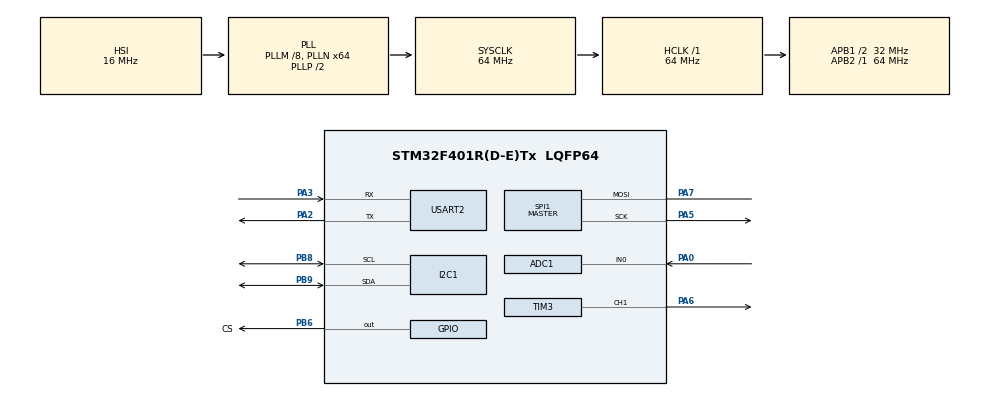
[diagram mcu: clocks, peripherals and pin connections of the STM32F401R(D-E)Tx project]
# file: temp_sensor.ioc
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ADC1.Channel-0\#ChannelRegularConversion=ADC_CHANNEL_0
ADC1.NbrOfConversionFlag=1
ADC1.Rank-0\#ChannelRegularConversion=1
ADC1.SamplingTime-0\#ChannelRegularConversion=ADC_SAMPLETIME_15CYCLES
ADC1.master=1
FREERTOS.Mutexes01=SPI_Mutex,Static,SPI_MutexControlBlock,Depleted
FREERTOS.Tasks01=TempRead,24,128,StartTempRead,Default,NULL,Dynamic,NULL,NULL;Counter,8,128,StartCounter,Default,NULL,Dynamic,NULL,NULL;CtrlLED,8,128,StartCtrlLED,Default,NULL,Dynamic,NULL,NULL
FREERTOS.configUSE_NEWLIB_REENTRANT=1
Mcu.Family=STM32F4
Mcu.Name=STM32F401R(D-E)Tx
Mcu.Package=LQFP64
NVIC.PriorityGroup=NVIC_PRIORITYGROUP_4
NVIC.TIM5_IRQn=true\:15\:0\:false\:false\:true\:false\:false\:true\:true
NVIC.TimeBase=TIM5_IRQn
NVIC.TimeBaseIP=TIM5
PA0-WKUP.Signal=ADCx_IN0
PA2.Mode=Asynchronous
PA2.Signal=USART2_TX
PA3.Mode=Asynchronous
PA3.Signal=USART2_RX
PA5.Mode=Simplex_Bidirectional_Master
PA5.Signal=SPI1_SCK
PA6.Signal=S_TIM3_CH1
PA7.Mode=Simplex_Bidirectional_Master
PA7.Signal=SPI1_MOSI
PB6.GPIO_Label=CS
PB6.Signal=GPIO_Output
PB8.Mode=I2C
PB8.Signal=I2C1_SCL
PB9.Mode=I2C
PB9.Signal=I2C1_SDA
ProjectManager.HeapSize=0x200
ProjectManager.StackSize=0x400
ProjectManager.TargetToolchain=STM32CubeIDE
RCC.48MHZClocksFreq_Value=18285714.285714287
RCC.AHBFreq_Value=64000000
RCC.APB1CLKDivider=RCC_HCLK_DIV2
RCC.APB1Freq_Value=32000000
RCC.APB1TimFreq_Value=64000000
RCC.APB2Freq_Value=64000000
RCC.APB2TimFreq_Value=64000000
RCC.CortexFreq_Value=64000000
RCC.HCLKFreq_Value=64000000
RCC.HSE_VALUE=8000000
RCC.HSI_VALUE=16000000
RCC.LSE_VALUE=32768
RCC.PLLM=8
RCC.PLLN=64
RCC.PLLQ=7
RCC.SYSCLKFreq_VALUE=64000000
RCC.SYSCLKSource=RCC_SYSCLKSOURCE_PLLCLK
RCC.VCOOutputFreq_Value=128000000
SH.ADCx_IN0.0=ADC1_IN0,IN0
SH.S_TIM3_CH1.0=TIM3_CH1,PWM Generation1 CH1
SPI1.Direction=SPI_DIRECTION_1LINE
SPI1.Mode=SPI_MODE_MASTER
SPI1.VirtualType=VM_MASTER
TIM2.Prescaler=4
TIM3.Channel-PWM\ Generation1\ CH1=TIM_CHANNEL_1
TIM3.Prescaler=16
USART2.VirtualMode=VM_ASYNC
VP_FREERTOS_VS_CMSIS_V2.Mode=CMSIS_V2
VP_SYS_VS_tim5.Mode=TIM5
VP_TIM2_VS_ClockSourceINT.Mode=Internal
board=NUCLEO-F401RE

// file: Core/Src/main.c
/* USER CODE BEGIN Header */
/**
  ******************************************************************************
  * @file           : main.c
  * @brief          : Main program body
  ******************************************************************************
  * @attention
  *
  * Copyright (c) 2025 STMicroelectronics.
  * All rights reserved.
  *
  * This software is licensed under terms that can be found in the LICENSE file
  * in the root directory of this software component.
  * If no LICENSE file comes with this software, it is provided AS-IS.
  *
  ******************************************************************************
  */
/* USER CODE END Header */
#include "main.h"
#include "cmsis_os.h"

/* USER CODE BEGIN Includes */
#include <stdio.h>
#include <string.h>
/* USER CODE END Includes */

typedef StaticSemaphore_t osStaticMutexDef_t;

/* USER CODE BEGIN PD */
#define ENABLE 0x08         //Will be ORed in to data value to strobe E bit
#define COMMAND_MODE 0x00   //used to clear RS line to 0, for command transfer
#define DATA_MODE 0x04      //used to set RS line to 1, for data transfer

#define SET_LINE_1 0x80
#define SET_LINE_2 0x80 + 0x40
#define SET_LINE_3 0x80 + 0x14
#define SET_LINE_4 0x80 + 0x54
/* USER CODE END PD */

ADC_HandleTypeDef hadc1;

I2C_HandleTypeDef hi2c1;

SPI_HandleTypeDef hspi1;

TIM_HandleTypeDef htim2;
TIM_HandleTypeDef htim3;

UART_HandleTypeDef huart2;

/* Definitions for TempRead */
osThreadId_t TempReadHandle;
const osThreadAttr_t TempRead_attributes = {
  .name = "TempRead",
  .stack_size = 128 * 4,
  .priority = (osPriority_t) osPriorityNormal,
};
/* Definitions for Counter */
osThreadId_t CounterHandle;
const osThreadAttr_t Counter_attributes = {
  .name = "Counter",
  .stack_size = 128 * 4,
  .priority = (osPriority_t) osPriorityLow,
};
/* Definitions for CtrlLED */
osThreadId_t CtrlLEDHandle;
const osThreadAttr_t CtrlLED_attributes = {
  .name = "CtrlLED",
  .stack_size = 128 * 4,
  .priority = (osPriority_t) osPriorityLow,
};
/* Definitions for SPI_Mutex */
osMutexId_t SPI_MutexHandle;
osStaticMutexDef_t SPI_MutexControlBlock;
const osMutexAttr_t SPI_Mutex_attributes = {
  .name = "SPI_Mutex",
  .cb_mem = &SPI_MutexControlBlock,
  .cb_size = sizeof(SPI_MutexControlBlock),
};
/* USER CODE BEGIN PV */
const uint8_t ds1631_addr = 0x48 << 1; //I2C address of temperature sensor DS1631
uint8_t buf[24];
int16_t val;
float temp;

uint8_t START_CONVERT = 0x51;
//const uint8_t STOP_CONVERT = 0x22;
uint8_t READ_TEMP = 0xAA;
//const uint8_t ACCESS_TH = 0xA1;
//const uint8_t ACCESS_TL = 0xA2;
//const uint8_t ACCESS_CONFIG = 0xAC;
//const uint8_t SOFTWARE_POR = 0x54;
/* USER CODE END PV */

void SystemClock_Config(void);
static void MX_GPIO_Init(void);
static void MX_ADC1_Init(void);
static void MX_TIM3_Init(void);
static void MX_I2C1_Init(void);
static void MX_SPI1_Init(void);
static void MX_USART2_UART_Init(void);
static void MX_TIM2_Init(void);
void StartTempRead(void *argument);
void StartCounter(void *argument);
void StartCtrlLED(void *argument);

/* USER CODE BEGIN PFP */
void clr_lcd(void);
void init_lcd(void);
void print_lcd(const char *string);
void shift_out(int data);
void write_cmd(int cmd);
void write_data(char c);
void write_4bit(int data, int mode);
void wait_us(uint32_t us);
/* USER CODE END PFP */

int main(void)
{

  /* MCU Configuration--------------------------------------------------------*/

  /* Reset of all peripherals, Initializes the Flash interface and the Systick. */
  HAL_Init();

  /* Configure the system clock */
  SystemClock_Config();

  /* Initialize all configured peripherals */
  MX_GPIO_Init();
  MX_ADC1_Init();
  MX_TIM3_Init();
  MX_I2C1_Init();
  MX_SPI1_Init();
  MX_USART2_UART_Init();
  MX_TIM2_Init();
  /* USER CODE BEGIN 2 */
  // Set up LCD
  HAL_TIM_Base_Start(&htim2);
  HAL_GPIO_WritePin(CS_GPIO_Port, CS_Pin, GPIO_PIN_SET); // CS HIGH
  HAL_SPI_Abort(&hspi1);
  init_lcd();
  clr_lcd();
  print_lcd("Temperature:");
  write_cmd(SET_LINE_3);   //set cursor to second line
  wait_us(40);
  print_lcd("Counter:");
  HAL_UART_Transmit(&huart2, (uint8_t*)"\033[0;0H", strlen("\033[0;0H"), HAL_MAX_DELAY);
  HAL_UART_Transmit(&huart2, (uint8_t*)"\033[2J", strlen("\033[2J"), HAL_MAX_DELAY);

  /* USER CODE END 2 */

  /* Init scheduler */
  osKernelInitialize();
  /* Create the mutex(es) */
  /* creation of SPI_Mutex */
  SPI_MutexHandle = osMutexNew(&SPI_Mutex_attributes);

  /* Create the thread(s) */
  /* creation of TempRead */
  TempReadHandle = osThreadNew(StartTempRead, NULL, &TempRead_attributes);

  /* creation of Counter */
  CounterHandle = osThreadNew(StartCounter, NULL, &Counter_attributes);

  /* creation of CtrlLED */
  CtrlLEDHandle = osThreadNew(StartCtrlLED, NULL, &CtrlLED_attributes);

  /* Start scheduler */
  osKernelStart();

  /* We should never get here as control is now taken by the scheduler */

  /* Infinite loop */
  while (1)
  {

  }
}

void SystemClock_Config(void)
{
  RCC_OscInitTypeDef RCC_OscInitStruct = {0};
  RCC_ClkInitTypeDef RCC_ClkInitStruct = {0};

  /** Configure the main internal regulator output voltage
  */
  __HAL_RCC_PWR_CLK_ENABLE();
  __HAL_PWR_VOLTAGESCALING_CONFIG(PWR_REGULATOR_VOLTAGE_SCALE2);

  /** Initializes the RCC Oscillators according to the specified parameters
  * in the RCC_OscInitTypeDef structure.
  */
  RCC_OscInitStruct.OscillatorType = RCC_OSCILLATORTYPE_HSI;
  RCC_OscInitStruct.HSIState = RCC_HSI_ON;
  RCC_OscInitStruct.HSICalibrationValue = RCC_HSICALIBRATION_DEFAULT;
  RCC_OscInitStruct.PLL.PLLState = RCC_PLL_ON;
  RCC_OscInitStruct.PLL.PLLSource = RCC_PLLSOURCE_HSI;
  RCC_OscInitStruct.PLL.PLLM = 8;
  RCC_OscInitStruct.PLL.PLLN = 64;
  RCC_OscInitStruct.PLL.PLLP = RCC_PLLP_DIV2;
  RCC_OscInitStruct.PLL.PLLQ = 7;
  if (HAL_RCC_OscConfig(&RCC_OscInitStruct) != HAL_OK)
  {
    Error_Handler();
  }

  /** Initializes the CPU, AHB and APB buses clocks
  */
  RCC_ClkInitStruct.ClockType = RCC_CLOCKTYPE_HCLK|RCC_CLOCKTYPE_SYSCLK
                              |RCC_CLOCKTYPE_PCLK1|RCC_CLOCKTYPE_PCLK2;
  RCC_ClkInitStruct.SYSCLKSource = RCC_SYSCLKSOURCE_PLLCLK;
  RCC_ClkInitStruct.AHBCLKDivider = RCC_SYSCLK_DIV1;
  RCC_ClkInitStruct.APB1CLKDivider = RCC_HCLK_DIV2;
  RCC_ClkInitStruct.APB2CLKDivider = RCC_HCLK_DIV1;

  if (HAL_RCC_ClockConfig(&RCC_ClkInitStruct, FLASH_LATENCY_2) != HAL_OK)
  {
    Error_Handler();
  }
}

static void MX_ADC1_Init(void)
{

  ADC_ChannelConfTypeDef sConfig = {0};

  /** Configure the global features of the ADC (Clock, Resolution, Data Alignment and number of conversion)
  */
  hadc1.Instance = ADC1;
  hadc1.Init.ClockPrescaler = ADC_CLOCK_SYNC_PCLK_DIV2;
  hadc1.Init.Resolution = ADC_RESOLUTION_12B;
  hadc1.Init.ScanConvMode = DISABLE;
  hadc1.Init.ContinuousConvMode = DISABLE;
  hadc1.Init.DiscontinuousConvMode = DISABLE;
  hadc1.Init.ExternalTrigConvEdge = ADC_EXTERNALTRIGCONVEDGE_NONE;
  hadc1.Init.ExternalTrigConv = ADC_SOFTWARE_START;
  hadc1.Init.DataAlign = ADC_DATAALIGN_RIGHT;
  hadc1.Init.NbrOfConversion = 1;
  hadc1.Init.DMAContinuousRequests = DISABLE;
  hadc1.Init.EOCSelection = ADC_EOC_SINGLE_CONV;
  if (HAL_ADC_Init(&hadc1) != HAL_OK)
  {
    Error_Handler();
  }

  /** Configure for the selected ADC regular channel its corresponding rank in the sequencer and its sample time.
  */
  sConfig.Channel = ADC_CHANNEL_0;
  sConfig.Rank = 1;
  sConfig.SamplingTime = ADC_SAMPLETIME_15CYCLES;
  if (HAL_ADC_ConfigChannel(&hadc1, &sConfig) != HAL_OK)
  {
    Error_Handler();
  }

}

static void MX_I2C1_Init(void)
{

  hi2c1.Instance = I2C1;
  hi2c1.Init.ClockSpeed = 100000;
  hi2c1.Init.DutyCycle = I2C_DUTYCYCLE_2;
  hi2c1.Init.OwnAddress1 = 0;
  hi2c1.Init.AddressingMode = I2C_ADDRESSINGMODE_7BIT;
  hi2c1.Init.DualAddressMode = I2C_DUALADDRESS_DISABLE;
  hi2c1.Init.OwnAddress2 = 0;
  hi2c1.Init.GeneralCallMode = I2C_GENERALCALL_DISABLE;
  hi2c1.Init.NoStretchMode = I2C_NOSTRETCH_DISABLE;
  if (HAL_I2C_Init(&hi2c1) != HAL_OK)
  {
    Error_Handler();
  }

}

static void MX_SPI1_Init(void)
{

  /* SPI1 parameter configuration*/
  hspi1.Instance = SPI1;
  hspi1.Init.Mode = SPI_MODE_MASTER;
  hspi1.Init.Direction = SPI_DIRECTION_1LINE;
  hspi1.Init.DataSize = SPI_DATASIZE_8BIT;
  hspi1.Init.CLKPolarity = SPI_POLARITY_LOW;
  hspi1.Init.CLKPhase = SPI_PHASE_1EDGE;
  hspi1.Init.NSS = SPI_NSS_SOFT;
  hspi1.Init.BaudRatePrescaler = SPI_BAUDRATEPRESCALER_2;
  hspi1.Init.FirstBit = SPI_FIRSTBIT_MSB;
  hspi1.Init.TIMode = SPI_TIMODE_DISABLE;
  hspi1.Init.CRCCalculation = SPI_CRCCALCULATION_DISABLE;
  hspi1.Init.CRCPolynomial = 10;
  if (HAL_SPI_Init(&hspi1) != HAL_OK)
  {
    Error_Handler();
  }

}

static void MX_TIM2_Init(void)
{

  TIM_ClockConfigTypeDef sClockSourceConfig = {0};
  TIM_MasterConfigTypeDef sMasterConfig = {0};

  htim2.Instance = TIM2;
  htim2.Init.Prescaler = 4;
  htim2.Init.CounterMode = TIM_COUNTERMODE_UP;
  htim2.Init.Period = 4294967295;
  htim2.Init.ClockDivision = TIM_CLOCKDIVISION_DIV1;
  htim2.Init.AutoReloadPreload = TIM_AUTORELOAD_PRELOAD_DISABLE;
  if (HAL_TIM_Base_Init(&htim2) != HAL_OK)
  {
    Error_Handler();
  }
  sClockSourceConfig.ClockSource = TIM_CLOCKSOURCE_INTERNAL;
  if (HAL_TIM_ConfigClockSource(&htim2, &sClockSourceConfig) != HAL_OK)
  {
    Error_Handler();
  }
  sMasterConfig.MasterOutputTrigger = TIM_TRGO_RESET;
  sMasterConfig.MasterSlaveMode = TIM_MASTERSLAVEMODE_DISABLE;
  if (HAL_TIMEx_MasterConfigSynchronization(&htim2, &sMasterConfig) != HAL_OK)
  {
    Error_Handler();
  }

}

static void MX_TIM3_Init(void)
{

  TIM_MasterConfigTypeDef sMasterConfig = {0};
  TIM_OC_InitTypeDef sConfigOC = {0};

  htim3.Instance = TIM3;
  htim3.Init.Prescaler = 16;
  htim3.Init.CounterMode = TIM_COUNTERMODE_UP;
  htim3.Init.Period = 65535;
  htim3.Init.ClockDivision = TIM_CLOCKDIVISION_DIV1;
  htim3.Init.AutoReloadPreload = TIM_AUTORELOAD_PRELOAD_DISABLE;
  if (HAL_TIM_PWM_Init(&htim3) != HAL_OK)
  {
    Error_Handler();
  }
  sMasterConfig.MasterOutputTrigger = TIM_TRGO_RESET;
  sMasterConfig.MasterSlaveMode = TIM_MASTERSLAVEMODE_DISABLE;
  if (HAL_TIMEx_MasterConfigSynchronization(&htim3, &sMasterConfig) != HAL_OK)
  {
    Error_Handler();
  }
  sConfigOC.OCMode = TIM_OCMODE_PWM1;
  sConfigOC.Pulse = 0;
  sConfigOC.OCPolarity = TIM_OCPOLARITY_HIGH;
  sConfigOC.OCFastMode = TIM_OCFAST_DISABLE;
  if (HAL_TIM_PWM_ConfigChannel(&htim3, &sConfigOC, TIM_CHANNEL_1) != HAL_OK)
  {
    Error_Handler();
  }
  HAL_TIM_MspPostInit(&htim3);

}

static void MX_USART2_UART_Init(void)
{

  huart2.Instance = USART2;
  huart2.Init.BaudRate = 115200;
  huart2.Init.WordLength = UART_WORDLENGTH_8B;
  huart2.Init.StopBits = UART_STOPBITS_1;
  huart2.Init.Parity = UART_PARITY_NONE;
  huart2.Init.Mode = UART_MODE_TX_RX;
  huart2.Init.HwFlowCtl = UART_HWCONTROL_NONE;
  huart2.Init.OverSampling = UART_OVERSAMPLING_16;
  if (HAL_UART_Init(&huart2) != HAL_OK)
  {
    Error_Handler();
  }

}

static void MX_GPIO_Init(void)
{
  GPIO_InitTypeDef GPIO_InitStruct = {0};

  /* GPIO Ports Clock Enable */
  __HAL_RCC_GPIOA_CLK_ENABLE();
  __HAL_RCC_GPIOB_CLK_ENABLE();

  /*Configure GPIO pin Output Level */
  HAL_GPIO_WritePin(CS_GPIO_Port, CS_Pin, GPIO_PIN_RESET);

  /*Configure GPIO pin : CS_Pin */
  GPIO_InitStruct.Pin = CS_Pin;
  GPIO_InitStruct.Mode = GPIO_MODE_OUTPUT_PP;
  GPIO_InitStruct.Pull = GPIO_NOPULL;
  GPIO_InitStruct.Speed = GPIO_SPEED_FREQ_LOW;
  HAL_GPIO_Init(CS_GPIO_Port, &GPIO_InitStruct);

}

/* USER CODE BEGIN 4 */
void init_lcd(void) {   //follow designated procedure in data sheet
    HAL_Delay(40);
    shift_out(0x30);    //function set 8-bit
    wait_us(37);
    write_cmd(0x20);    //function set
    wait_us(37);
    write_cmd(0x20);    //function set
    wait_us(37);
    write_cmd(0x0C);    //display ON/OFF
    wait_us(37);
    write_cmd(0x01);    //display clear
    wait_us(1520);
    write_cmd(0x06);    //entry-mode set
    wait_us(37);
    write_cmd(0x28);    //function set
    wait_us(37);
}

void write_4bit(int data, int mode) {  //mode is RS line, ie 0 for cmd, 1 for data
    int hi_n;
    int lo_n;
    hi_n = (data & 0xF0);           //form the two 4-bit nibbles that will be sent
    lo_n = ((data << 4) &0xF0);
    shift_out(hi_n | ENABLE | mode); //send each word twice, strobing the Enable line
    wait_us(1);
    shift_out(hi_n & ~ENABLE);
    shift_out(lo_n | ENABLE | mode);
    wait_us(1);
    shift_out(lo_n & ~ENABLE);
}
void shift_out(int data) {     //Invokes SPI
	HAL_GPIO_WritePin(CS_GPIO_Port, CS_Pin, GPIO_PIN_RESET); // CS LOW
	HAL_SPI_Transmit(&hspi1, &data, 1, 100); // SEND BUFFER
	while(HAL_SPI_GetState(&hspi1) != HAL_SPI_STATE_READY);
    HAL_GPIO_WritePin(CS_GPIO_Port, CS_Pin, GPIO_PIN_SET); // CS HIGH
}

void write_cmd(int cmd) {
    write_4bit(cmd, COMMAND_MODE);
}

void write_data(char c) {
    write_4bit(c, DATA_MODE);    //1 for data mode
}

void clr_lcd(void) {
    write_cmd(0x01);    //display clear
    wait_us(1520);
}

void print_lcd(const char *string) {
    while(*string){
        write_data(*string++);
            wait_us(40);
    }
}

void wait_us(uint32_t us){
    uint32_t start = TIM2->CNT;
    uint32_t duration = us * 16;
    while (TIM2->CNT - start < duration);
}
/* USER CODE END 4 */

void StartTempRead(void *argument)
{
  /* USER CODE BEGIN 5 */
  /* Infinite loop */
  for(;;){
	//Write 0x51 to 0x90 to start temperature conversion
	HAL_I2C_Master_Transmit(&hi2c1, ds1631_addr, &START_CONVERT, 1, 1000);
	//wait for the conversion to complete
	osDelay(500);
	//Write 0xAA to 0x90 to read the last converted temperature
	HAL_I2C_Master_Transmit(&hi2c1, ds1631_addr, &READ_TEMP, 1, 1000);
	//Read the temperature into the read_temp array
	HAL_I2C_Master_Receive(&hi2c1, ds1631_addr, buf, 2, 1000);
	//Combine the bytes
	val = ((int16_t)buf[0] << 8) | (buf[1]);
	//Convert temperature to Celsius
	temp = (float) val / 256.0;
	sprintf(buf, "Temp: %.4f C\r\n", temp);
	//Print temperature to the serial monitor
	HAL_UART_Transmit(&huart2, buf, strlen((char *)buf), 1000);
	osMutexAcquire(SPI_MutexHandle, 1000);
	// Transmit buffer to LCD
	sprintf(buf, "%.4f C", temp);
	write_cmd(SET_LINE_2);   //set cursor to second line
	wait_us(40);
	print_lcd(buf);
	osMutexRelease(SPI_MutexHandle);
	osDelay(1000);
  }
  osThreadTerminate(TempReadHandle);
  /* USER CODE END 5 */
}

void StartCounter(void *argument)
{
  /* USER CODE BEGIN StartCounter */
	uint8_t message[24];
	int count = 0;
  /* Infinite loop */
  for(;;){
	  sprintf(message, "Count: %d \r\n", count);
	  //Print Count to the serial monitor
//	  HAL_UART_Transmit(&huart2, message, strlen((char *)message), 1000);
	  sprintf(message, "%d", count);
	  write_cmd(SET_LINE_4);   //set cursor to second line
	  wait_us(40);
	  print_lcd(message);
	  count++;
	  osDelay(100);
  }
  osThreadTerminate(CounterHandle);
  /* USER CODE END StartCounter */
}

void StartCtrlLED(void *argument)
{
  /* USER CODE BEGIN StartCtrlLED */
	uint8_t message[16];
	HAL_TIM_PWM_Start(&htim3, TIM_CHANNEL_1);
	uint16_t dutyCycle = HAL_TIM_ReadCapturedValue(&htim3, TIM_CHANNEL_1);
  /* Infinite loop */
  for(;;)
  {
	  HAL_ADC_Start(&hadc1);
	  HAL_ADC_PollForConversion(&hadc1, 1000);
	  dutyCycle = HAL_ADC_GetValue(&hadc1);
	  __HAL_TIM_SET_COMPARE(&htim3, TIM_CHANNEL_1, dutyCycle*16);
	  sprintf(message, "Duty Cycle Val: %d \r\n", dutyCycle*16);
	  HAL_UART_Transmit(&huart2, message, strlen((char *)message), 1000);
	  osDelay(10);
  }
  osThreadTerminate(CtrlLEDHandle);
  /* USER CODE END StartCtrlLED */
}

void HAL_TIM_PeriodElapsedCallback(TIM_HandleTypeDef *htim)
{
  if (htim->Instance == TIM5) {
    HAL_IncTick();
  }
}

void Error_Handler(void)
{
  __disable_irq();
  while (1)
  {
  }
}
